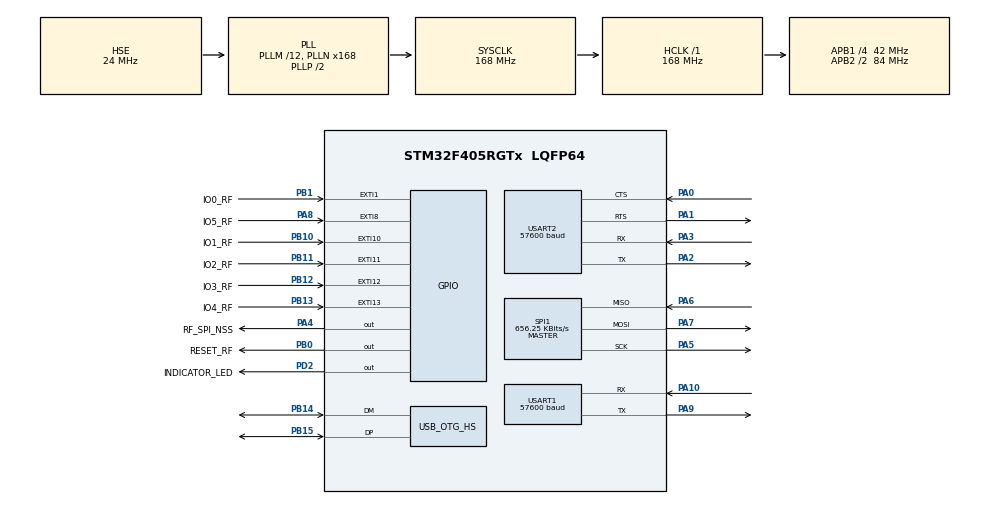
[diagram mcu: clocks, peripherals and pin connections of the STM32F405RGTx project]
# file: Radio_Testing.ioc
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Dma.Request0=USART1_RX
Dma.USART1_RX.0.Direction=DMA_PERIPH_TO_MEMORY
Dma.USART1_RX.0.FIFOMode=DMA_FIFOMODE_ENABLE
Dma.USART1_RX.0.FIFOThreshold=DMA_FIFO_THRESHOLD_HALFFULL
Dma.USART1_RX.0.Instance=DMA2_Stream2
Dma.USART1_RX.0.MemBurst=DMA_MBURST_SINGLE
Dma.USART1_RX.0.MemDataAlignment=DMA_MDATAALIGN_BYTE
Dma.USART1_RX.0.MemInc=DMA_MINC_ENABLE
Dma.USART1_RX.0.Mode=DMA_NORMAL
Dma.USART1_RX.0.PeriphBurst=DMA_PBURST_SINGLE
Dma.USART1_RX.0.PeriphDataAlignment=DMA_PDATAALIGN_BYTE
Dma.USART1_RX.0.PeriphInc=DMA_PINC_DISABLE
Dma.USART1_RX.0.Priority=DMA_PRIORITY_LOW
Mcu.Family=STM32F4
Mcu.Name=STM32F405RGTx
Mcu.Package=LQFP64
NVIC.DMA2_Stream2_IRQn=true\:0\:0\:false\:false\:true\:false\:true\:true
NVIC.EXTI15_10_IRQn=true\:0\:0\:false\:false\:true\:true\:true\:true
NVIC.EXTI1_IRQn=true\:0\:0\:false\:false\:true\:true\:true\:true
NVIC.OTG_HS_IRQn=true\:1\:0\:true\:false\:true\:false\:true\:true
NVIC.PriorityGroup=NVIC_PRIORITYGROUP_4
NVIC.TIM2_IRQn=true\:2\:0\:true\:false\:true\:true\:true\:true
NVIC.USART2_IRQn=true\:1\:0\:true\:false\:true\:true\:true\:true
PA0-WKUP.Mode=CTS_RTS
PA0-WKUP.Signal=USART2_CTS
PA1.Mode=CTS_RTS
PA1.Signal=USART2_RTS
PA10.Mode=Asynchronous
PA10.Signal=USART1_RX
PA11.Signal=USART1_CTS
PA12.Signal=USART1_RTS
PA13.Signal=SYS_JTMS-SWDIO
PA14.Signal=SYS_JTCK-SWCLK
PA2.Mode=Asynchronous
PA2.Signal=USART2_TX
PA3.Mode=Asynchronous
PA3.Signal=USART2_RX
PA4.GPIO_Label=RF_SPI_NSS
PA4.Signal=GPIO_Output
PA5.Mode=Full_Duplex_Master
PA5.Signal=SPI1_SCK
PA6.Mode=Full_Duplex_Master
PA6.Signal=SPI1_MISO
PA7.Mode=Full_Duplex_Master
PA7.Signal=SPI1_MOSI
PA8.GPIO_Label=IO5_RF
PA8.Signal=GPXTI8
PA9.Mode=Asynchronous
PA9.Signal=USART1_TX
PB0.GPIO_Label=RESET_RF
PB0.Signal=GPIO_Output
PB1.GPIO_Label=IO0_RF
PB1.Signal=GPXTI1
PB10.GPIO_Label=IO1_RF
PB10.Signal=GPXTI10
PB11.GPIO_Label=IO2_RF
PB11.Signal=GPXTI11
PB12.GPIO_Label=IO3_RF
PB12.Signal=GPXTI12
PB13.GPIO_Label=IO4_RF
PB13.Signal=GPXTI13
PB14.Mode=Device_Only_FS
PB14.Signal=USB_OTG_HS_DM
PB15.Mode=Device_Only_FS
PB15.Signal=USB_OTG_HS_DP
PC14-OSC32_IN.Mode=LSE-External-Oscillator
PC14-OSC32_IN.Signal=RCC_OSC32_IN
PC15-OSC32_OUT.Mode=LSE-External-Oscillator
PC15-OSC32_OUT.Signal=RCC_OSC32_OUT
PD2.GPIO_Label=INDICATOR_LED
PD2.Signal=GPIO_Output
PH0-OSC_IN.Mode=HSE-External-Oscillator
PH0-OSC_IN.Signal=RCC_OSC_IN
PH1-OSC_OUT.Mode=HSE-External-Oscillator
PH1-OSC_OUT.Signal=RCC_OSC_OUT
ProjectManager.HeapSize=0x200
ProjectManager.StackSize=0x400
ProjectManager.TargetToolchain=STM32CubeIDE
RCC.48MHZClocksFreq_Value=48000000
RCC.AHBFreq_Value=168000000
RCC.APB1CLKDivider=RCC_HCLK_DIV4
RCC.APB1Freq_Value=42000000
RCC.APB1TimFreq_Value=84000000
RCC.APB2CLKDivider=RCC_HCLK_DIV2
RCC.APB2Freq_Value=84000000
RCC.APB2TimFreq_Value=168000000
RCC.CortexFreq_Value=168000000
RCC.HCLKFreq_Value=168000000
RCC.HSE_VALUE=24000000
RCC.HSI_VALUE=16000000
RCC.PLLM=12
RCC.PLLN=168
RCC.PLLQ=7
RCC.SYSCLKFreq_VALUE=168000000
RCC.SYSCLKSource=RCC_SYSCLKSOURCE_PLLCLK
RCC.VCOOutputFreq_Value=336000000
SPI1.BaudRatePrescaler=SPI_BAUDRATEPRESCALER_128
SPI1.CalculateBaudRate=656.25 KBits/s
SPI1.Direction=SPI_DIRECTION_2LINES
SPI1.Mode=SPI_MODE_MASTER
SPI1.VirtualType=VM_MASTER
TIM2.AutoReloadPreload=TIM_AUTORELOAD_PRELOAD_ENABLE
TIM2.Period=16800
TIM2.Prescaler=2500
USART1.BaudRate=57600
USART1.VirtualMode=VM_ASYNC
USART2.BaudRate=57600
USART2.VirtualMode=VM_ASYNC
USB_DEVICE.CLASS_NAME_HS=CDC
USB_DEVICE.VirtualMode-CDC_HS=Cdc
USB_DEVICE.VirtualModeHS=Cdc_HS
USB_OTG_HS.VirtualMode-Device_Only_FS=Device_Only_FS
VP_CRC_VS_CRC.Mode=CRC_Activate
VP_TIM2_VS_ClockSourceINT.Mode=Internal
VP_USB_DEVICE_VS_USB_DEVICE_CDC_HS.Mode=CDC_HS
board=custom

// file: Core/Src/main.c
/* USER CODE BEGIN Header */
/**
  ******************************************************************************
  * @file           : main.c
  * @brief          : Main program body
  ******************************************************************************
  * @attention
  *
  * Copyright (c) 2022 STMicroelectronics.
  * All rights reserved.
  *
  * This software is licensed under terms that can be found in the LICENSE file
  * in the root directory of this software component.
  * If no LICENSE file comes with this software, it is provided AS-IS.
  *
  ******************************************************************************
  */
/* USER CODE END Header */
#include "main.h"
#include "usb_device.h"

/* USER CODE BEGIN Includes */
#include "LoRa.h"
/* USER CODE END Includes */

CRC_HandleTypeDef hcrc;

SPI_HandleTypeDef hspi1;

TIM_HandleTypeDef htim2;

UART_HandleTypeDef huart1;
UART_HandleTypeDef huart2;
DMA_HandleTypeDef hdma_usart1_rx;

/* USER CODE BEGIN PV */
UART_HandleTypeDef* USB_UART = &huart1;
SPI_HandleTypeDef* RF_SPI = &hspi1;
#define MAX_RF_PACKET_SIZE 20
uint8_t RF_RX_Buff[MAX_RF_PACKET_SIZE];
#define DEBUG
/* USER CODE END PV */

void SystemClock_Config(void);
static void MX_GPIO_Init(void);
static void MX_USART1_UART_Init(void);
static void MX_USART2_UART_Init(void);
static void MX_SPI1_Init(void);
static void MX_DMA_Init(void);
static void MX_TIM2_Init(void);
static void MX_CRC_Init(void);

/* USER CODE BEGIN 0 */
LoRa LoRaClass;
uint8_t RF_available_bytes = 0;

void debug_print(char* packet, size_t length) {
	#ifdef DEBUG
	CDC_Transmit_HS(packet, length);
	#endif
}

void Blocking_LED_Blink(uint8_t freq) {
	while(1) {
		HAL_GPIO_WritePin(INDICATOR_LED_GPIO_Port, INDICATOR_LED_Pin, GPIO_PIN_SET);
		HAL_Delay(1000/freq);
		HAL_GPIO_WritePin(INDICATOR_LED_GPIO_Port, INDICATOR_LED_Pin, GPIO_PIN_RESET);
		HAL_Delay(1000/freq);
	}
}

void HAL_GPIO_EXTI_Callback(uint16_t GPIO_Pin){
	if(GPIO_Pin == LoRaClass.DIO0_pin){
		RF_available_bytes = LoRa_read(&LoRaClass, RegRxNbBytes);
	}
}

/* USER CODE END 0 */

int main(void)
{
  /* USER CODE BEGIN 1 */
  RetargetInit(USB_UART);
  /* USER CODE END 1 */

  /* MCU Configuration--------------------------------------------------------*/

  /* Reset of all peripherals, Initializes the Flash interface and the Systick. */
  HAL_Init();

  /* Configure the system clock */
  SystemClock_Config();

  /* Initialize all configured peripherals */
  MX_GPIO_Init();
  MX_USART1_UART_Init();
  MX_USART2_UART_Init();
  MX_SPI1_Init();
  MX_DMA_Init();
  MX_TIM2_Init();
  MX_USB_DEVICE_Init();
  MX_CRC_Init();
  /* USER CODE BEGIN 2 */
  MX_CRC_Init();
  hcrc.Instance = CRC;
//  hcrc.Init.GeneratingPolynomial = 0x4C11DB7;
  // https://stackoverflow.com/questions/28064278/matching-crc32-from-stm32f0-and-zlib
  HAL_CRC_Init(&hcrc);

  // LoRa Class definitions
  LoRaClass = newLoRa();
  LoRaClass.hSPIx                 = RF_SPI;
  LoRaClass.CS_port               = RF_SPI_NSS_GPIO_Port;
  LoRaClass.CS_pin                = RF_SPI_NSS_Pin;
  LoRaClass.reset_port            = RESET_RF_GPIO_Port;
  LoRaClass.reset_pin             = RESET_RF_Pin;
  LoRaClass.DIO0_port			  = IO0_RF_GPIO_Port;
  LoRaClass.DIO0_pin			  = IO0_RF_Pin;

  LoRaClass.frequency             = 915;
  LoRaClass.spredingFactor        = SF_7;						// default = SF_7
  LoRaClass.bandWidth			  = BW_125KHz;				  	// default = BW_125KHz
  LoRaClass.crcRate				  = CR_4_5;						// default = CR_4_5
  LoRaClass.power			      = POWER_20db;					// default = 20db
  LoRaClass.overCurrentProtection = 120; 						// default = 100 mA
  LoRaClass.preamble			  = 8;		  					// default = 8;

//  HAL_GPIO_WritePin(RF_SPI_NSS_GPIO_Port, RF_SPI_NSS_Pin, GPIO_PIN_SET);

  LoRa_reset(&LoRaClass);
//  LoRa_setModulation(&LoRaClass, LORA_MODULATION);
  uint32_t result = LoRa_init(&LoRaClass);

  if(result == LORA_NOT_FOUND) {
	  Blocking_LED_Blink(1);
  }
  else if(result == LORA_UNAVAILABLE) {
	  Blocking_LED_Blink(1);
  }

  // START CONTINUOUS RECEIVING -----------------------------------
  LoRa_startReceiving(&LoRaClass);
  /* USER CODE END 2 */

  /* Infinite loop */
  /* USER CODE BEGIN WHILE */
  while (1)
  {
	  if(RF_available_bytes) {
		  // Bytes in buffer
		  LoRa_receive(&LoRaClass, RF_RX_Buff, RF_available_bytes);

		  // Calculate CRC32
		  uint32_t CRC_Rec;
		  uint32_t CRC_Calc;
		  if (RF_available_bytes > 4) {
			  // This statement prevents hard faults from noise causing packets to fire
			  memcpy(&CRC_Rec, &RF_RX_Buff[RF_available_bytes-4], sizeof(uint32_t));
			  CRC_Calc = ~HAL_CRC_Calculate(&hcrc,(uint32_t *) RF_RX_Buff, RF_available_bytes-4);
		  }
		  if(CRC_Calc == CRC_Rec){
			  // Extract header
			  uint8_t header = RF_RX_Buff[0];
			  switch(header) {
			  case 0x01:
				  debug_print("Received test gimbal request\r\n", sizeof("Received test gimbal request\r\n"));
				  break;
			  case 0x02:
				  debug_print("Received continuity request\r\n", sizeof("Received continuity request\r\n"));
				  break;
			  }
		  }
		  RF_available_bytes = 0;
	  }
//	  char send_buff[14] = "hello world\r\n";
//	  LoRa_transmit(&LoRaClass, send_buff, sizeof(send_buff), 1000);
//	  HAL_Delay(1000);

    /* USER CODE END WHILE */

  }
}

void SystemClock_Config(void)
{
  RCC_OscInitTypeDef RCC_OscInitStruct = {0};
  RCC_ClkInitTypeDef RCC_ClkInitStruct = {0};

  /** Configure the main internal regulator output voltage
  */
  __HAL_RCC_PWR_CLK_ENABLE();
  __HAL_PWR_VOLTAGESCALING_CONFIG(PWR_REGULATOR_VOLTAGE_SCALE1);

  /** Initializes the RCC Oscillators according to the specified parameters
  * in the RCC_OscInitTypeDef structure.
  */
  RCC_OscInitStruct.OscillatorType = RCC_OSCILLATORTYPE_HSE;
  RCC_OscInitStruct.HSEState = RCC_HSE_ON;
  RCC_OscInitStruct.PLL.PLLState = RCC_PLL_ON;
  RCC_OscInitStruct.PLL.PLLSource = RCC_PLLSOURCE_HSE;
  RCC_OscInitStruct.PLL.PLLM = 12;
  RCC_OscInitStruct.PLL.PLLN = 168;
  RCC_OscInitStruct.PLL.PLLP = RCC_PLLP_DIV2;
  RCC_OscInitStruct.PLL.PLLQ = 7;
  if (HAL_RCC_OscConfig(&RCC_OscInitStruct) != HAL_OK)
  {
    Error_Handler();
  }

  /** Initializes the CPU, AHB and APB buses clocks
  */
  RCC_ClkInitStruct.ClockType = RCC_CLOCKTYPE_HCLK|RCC_CLOCKTYPE_SYSCLK
                              |RCC_CLOCKTYPE_PCLK1|RCC_CLOCKTYPE_PCLK2;
  RCC_ClkInitStruct.SYSCLKSource = RCC_SYSCLKSOURCE_PLLCLK;
  RCC_ClkInitStruct.AHBCLKDivider = RCC_SYSCLK_DIV1;
  RCC_ClkInitStruct.APB1CLKDivider = RCC_HCLK_DIV4;
  RCC_ClkInitStruct.APB2CLKDivider = RCC_HCLK_DIV2;

  if (HAL_RCC_ClockConfig(&RCC_ClkInitStruct, FLASH_LATENCY_5) != HAL_OK)
  {
    Error_Handler();
  }
}

static void MX_CRC_Init(void)
{

  hcrc.Instance = CRC;
  if (HAL_CRC_Init(&hcrc) != HAL_OK)
  {
    Error_Handler();
  }

}

static void MX_SPI1_Init(void)
{

  /* SPI1 parameter configuration*/
  hspi1.Instance = SPI1;
  hspi1.Init.Mode = SPI_MODE_MASTER;
  hspi1.Init.Direction = SPI_DIRECTION_2LINES;
  hspi1.Init.DataSize = SPI_DATASIZE_8BIT;
  hspi1.Init.CLKPolarity = SPI_POLARITY_LOW;
  hspi1.Init.CLKPhase = SPI_PHASE_1EDGE;
  hspi1.Init.NSS = SPI_NSS_SOFT;
  hspi1.Init.BaudRatePrescaler = SPI_BAUDRATEPRESCALER_128;
  hspi1.Init.FirstBit = SPI_FIRSTBIT_MSB;
  hspi1.Init.TIMode = SPI_TIMODE_DISABLE;
  hspi1.Init.CRCCalculation = SPI_CRCCALCULATION_DISABLE;
  hspi1.Init.CRCPolynomial = 10;
  if (HAL_SPI_Init(&hspi1) != HAL_OK)
  {
    Error_Handler();
  }

}

static void MX_TIM2_Init(void)
{

  TIM_ClockConfigTypeDef sClockSourceConfig = {0};
  TIM_MasterConfigTypeDef sMasterConfig = {0};

  htim2.Instance = TIM2;
  htim2.Init.Prescaler = 2500;
  htim2.Init.CounterMode = TIM_COUNTERMODE_UP;
  htim2.Init.Period = 16800;
  htim2.Init.ClockDivision = TIM_CLOCKDIVISION_DIV1;
  htim2.Init.AutoReloadPreload = TIM_AUTORELOAD_PRELOAD_ENABLE;
  if (HAL_TIM_Base_Init(&htim2) != HAL_OK)
  {
    Error_Handler();
  }
  sClockSourceConfig.ClockSource = TIM_CLOCKSOURCE_INTERNAL;
  if (HAL_TIM_ConfigClockSource(&htim2, &sClockSourceConfig) != HAL_OK)
  {
    Error_Handler();
  }
  sMasterConfig.MasterOutputTrigger = TIM_TRGO_RESET;
  sMasterConfig.MasterSlaveMode = TIM_MASTERSLAVEMODE_DISABLE;
  if (HAL_TIMEx_MasterConfigSynchronization(&htim2, &sMasterConfig) != HAL_OK)
  {
    Error_Handler();
  }

}

static void MX_USART1_UART_Init(void)
{

  huart1.Instance = USART1;
  huart1.Init.BaudRate = 57600;
  huart1.Init.WordLength = UART_WORDLENGTH_8B;
  huart1.Init.StopBits = UART_STOPBITS_1;
  huart1.Init.Parity = UART_PARITY_NONE;
  huart1.Init.Mode = UART_MODE_TX_RX;
  huart1.Init.HwFlowCtl = UART_HWCONTROL_NONE;
  huart1.Init.OverSampling = UART_OVERSAMPLING_16;
  if (HAL_UART_Init(&huart1) != HAL_OK)
  {
    Error_Handler();
  }

}

static void MX_USART2_UART_Init(void)
{

  huart2.Instance = USART2;
  huart2.Init.BaudRate = 57600;
  huart2.Init.WordLength = UART_WORDLENGTH_8B;
  huart2.Init.StopBits = UART_STOPBITS_1;
  huart2.Init.Parity = UART_PARITY_NONE;
  huart2.Init.Mode = UART_MODE_TX_RX;
  huart2.Init.HwFlowCtl = UART_HWCONTROL_RTS_CTS;
  huart2.Init.OverSampling = UART_OVERSAMPLING_16;
  if (HAL_UART_Init(&huart2) != HAL_OK)
  {
    Error_Handler();
  }

}

static void MX_DMA_Init(void)
{

  /* DMA controller clock enable */
  __HAL_RCC_DMA2_CLK_ENABLE();

  /* DMA interrupt init */
  /* DMA2_Stream2_IRQn interrupt configuration */
  HAL_NVIC_SetPriority(DMA2_Stream2_IRQn, 0, 0);
  HAL_NVIC_EnableIRQ(DMA2_Stream2_IRQn);

}

static void MX_GPIO_Init(void)
{
  GPIO_InitTypeDef GPIO_InitStruct = {0};

  /* GPIO Ports Clock Enable */
  __HAL_RCC_GPIOC_CLK_ENABLE();
  __HAL_RCC_GPIOH_CLK_ENABLE();
  __HAL_RCC_GPIOA_CLK_ENABLE();
  __HAL_RCC_GPIOB_CLK_ENABLE();
  __HAL_RCC_GPIOD_CLK_ENABLE();

  /*Configure GPIO pin Output Level */
  HAL_GPIO_WritePin(RF_SPI_NSS_GPIO_Port, RF_SPI_NSS_Pin, GPIO_PIN_RESET);

  /*Configure GPIO pin Output Level */
  HAL_GPIO_WritePin(RESET_RF_GPIO_Port, RESET_RF_Pin, GPIO_PIN_RESET);

  /*Configure GPIO pin Output Level */
  HAL_GPIO_WritePin(INDICATOR_LED_GPIO_Port, INDICATOR_LED_Pin, GPIO_PIN_RESET);

  /*Configure GPIO pin : RF_SPI_NSS_Pin */
  GPIO_InitStruct.Pin = RF_SPI_NSS_Pin;
  GPIO_InitStruct.Mode = GPIO_MODE_OUTPUT_PP;
  GPIO_InitStruct.Pull = GPIO_NOPULL;
  GPIO_InitStruct.Speed = GPIO_SPEED_FREQ_LOW;
  HAL_GPIO_Init(RF_SPI_NSS_GPIO_Port, &GPIO_InitStruct);

  /*Configure GPIO pin : RESET_RF_Pin */
  GPIO_InitStruct.Pin = RESET_RF_Pin;
  GPIO_InitStruct.Mode = GPIO_MODE_OUTPUT_PP;
  GPIO_InitStruct.Pull = GPIO_NOPULL;
  GPIO_InitStruct.Speed = GPIO_SPEED_FREQ_LOW;
  HAL_GPIO_Init(RESET_RF_GPIO_Port, &GPIO_InitStruct);

  /*Configure GPIO pins : IO0_RF_Pin IO1_RF_Pin IO2_RF_Pin IO3_RF_Pin
                           IO4_RF_Pin */
  GPIO_InitStruct.Pin = IO0_RF_Pin|IO1_RF_Pin|IO2_RF_Pin|IO3_RF_Pin
                          |IO4_RF_Pin;
  GPIO_InitStruct.Mode = GPIO_MODE_IT_RISING;
  GPIO_InitStruct.Pull = GPIO_NOPULL;
  HAL_GPIO_Init(GPIOB, &GPIO_InitStruct);

  /*Configure GPIO pin : IO5_RF_Pin */
  GPIO_InitStruct.Pin = IO5_RF_Pin;
  GPIO_InitStruct.Mode = GPIO_MODE_IT_RISING;
  GPIO_InitStruct.Pull = GPIO_NOPULL;
  HAL_GPIO_Init(IO5_RF_GPIO_Port, &GPIO_InitStruct);

  /*Configure GPIO pin : INDICATOR_LED_Pin */
  GPIO_InitStruct.Pin = INDICATOR_LED_Pin;
  GPIO_InitStruct.Mode = GPIO_MODE_OUTPUT_PP;
  GPIO_InitStruct.Pull = GPIO_NOPULL;
  GPIO_InitStruct.Speed = GPIO_SPEED_FREQ_LOW;
  HAL_GPIO_Init(INDICATOR_LED_GPIO_Port, &GPIO_InitStruct);

  /* EXTI interrupt init*/
  HAL_NVIC_SetPriority(EXTI1_IRQn, 0, 0);
  HAL_NVIC_EnableIRQ(EXTI1_IRQn);

  HAL_NVIC_SetPriority(EXTI15_10_IRQn, 0, 0);
  HAL_NVIC_EnableIRQ(EXTI15_10_IRQn);

}

void Error_Handler(void)
{
  __disable_irq();
  while (1)
  {
  }
}
